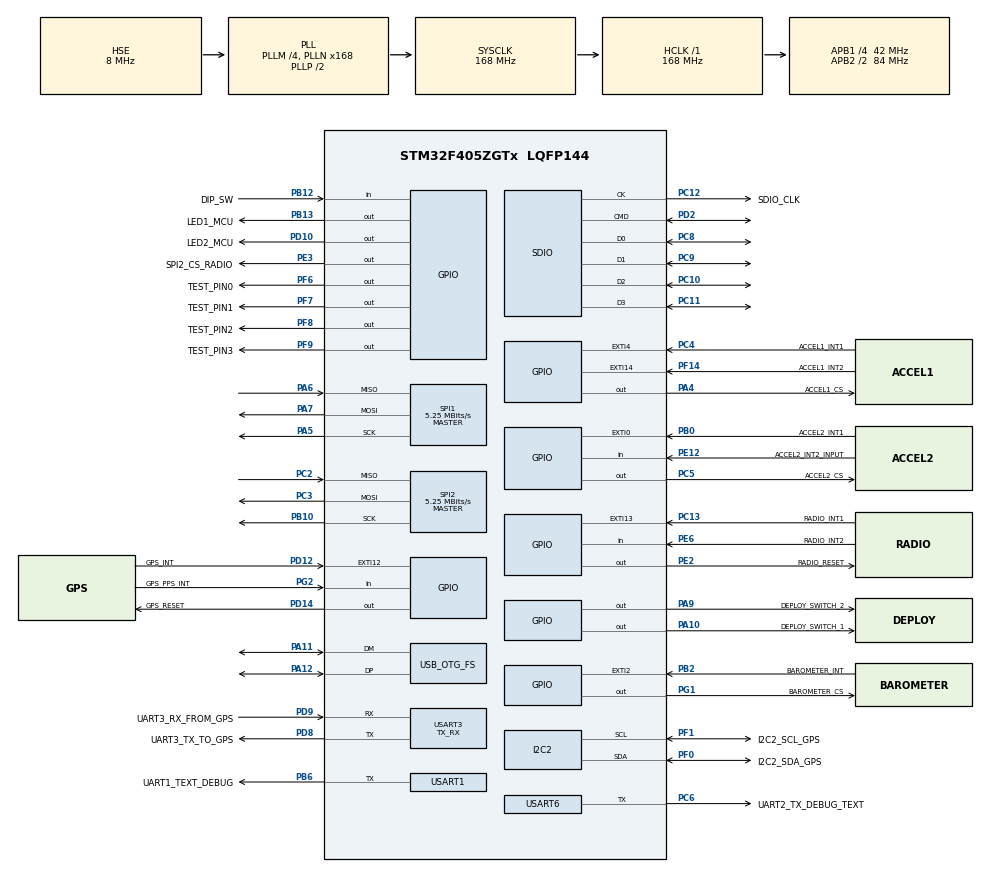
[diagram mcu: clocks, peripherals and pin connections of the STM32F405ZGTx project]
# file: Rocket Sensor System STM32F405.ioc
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Dma.Request0=SDIO_RX
Dma.Request1=SDIO_TX
Dma.SDIO_RX.0.Direction=DMA_PERIPH_TO_MEMORY
Dma.SDIO_RX.0.FIFOMode=DMA_FIFOMODE_ENABLE
Dma.SDIO_RX.0.FIFOThreshold=DMA_FIFO_THRESHOLD_FULL
Dma.SDIO_RX.0.Instance=DMA2_Stream3
Dma.SDIO_RX.0.MemBurst=DMA_MBURST_INC4
Dma.SDIO_RX.0.MemDataAlignment=DMA_MDATAALIGN_WORD
Dma.SDIO_RX.0.MemInc=DMA_MINC_ENABLE
Dma.SDIO_RX.0.Mode=DMA_PFCTRL
Dma.SDIO_RX.0.PeriphBurst=DMA_PBURST_INC4
Dma.SDIO_RX.0.PeriphDataAlignment=DMA_PDATAALIGN_WORD
Dma.SDIO_RX.0.PeriphInc=DMA_PINC_DISABLE
Dma.SDIO_RX.0.Priority=DMA_PRIORITY_LOW
Dma.SDIO_TX.1.Direction=DMA_MEMORY_TO_PERIPH
Dma.SDIO_TX.1.FIFOMode=DMA_FIFOMODE_ENABLE
Dma.SDIO_TX.1.FIFOThreshold=DMA_FIFO_THRESHOLD_FULL
Dma.SDIO_TX.1.Instance=DMA2_Stream6
Dma.SDIO_TX.1.MemBurst=DMA_MBURST_INC4
Dma.SDIO_TX.1.MemDataAlignment=DMA_MDATAALIGN_WORD
Dma.SDIO_TX.1.MemInc=DMA_MINC_ENABLE
Dma.SDIO_TX.1.Mode=DMA_PFCTRL
Dma.SDIO_TX.1.PeriphBurst=DMA_PBURST_INC4
Dma.SDIO_TX.1.PeriphDataAlignment=DMA_PDATAALIGN_WORD
Dma.SDIO_TX.1.PeriphInc=DMA_PINC_DISABLE
Dma.SDIO_TX.1.Priority=DMA_PRIORITY_LOW
FATFS._MAX_LFN=64
FATFS._USE_LFN=2
FREERTOS.Events01=delayTimer6Event,Static,delayTimer6EventControlBlock;taskGateEvent,Static,taskGateEventControlBlock
FREERTOS.HEAP_NUMBER=4
FREERTOS.INCLUDE_pcTaskGetTaskName=1
FREERTOS.INCLUDE_uxTaskGetStackHighWaterMark2=1
FREERTOS.INCLUDE_vTaskCleanUpResources=1
FREERTOS.INCLUDE_vTaskDelete=1
FREERTOS.INCLUDE_xEventGroupSetBitFromISR=1
FREERTOS.INCLUDE_xQueueGetMutexHolder=1
FREERTOS.INCLUDE_xSemaphoreGetMutexHolder=1
FREERTOS.INCLUDE_xTaskAbortDelay=1
FREERTOS.INCLUDE_xTaskGetHandle=1
FREERTOS.INCLUDE_xTaskResumeFromISR=0
FREERTOS.Queues01=DataCollectionQueue,16,uint64_t,0,Static,DataCollectionQueueBuffer,DataCollectionQueueControlBlock;RadioCommsQueue,16,uint64_t,0,Static,RadioCommsQueueBuffer,RadioCommsQueueControlBlock;DataWriterQueue,16,uint64_t,0,Static,DataWriterQueueBuffer,DataWriterQueueControlBlock;RocketAppQueue,16,uint64_t,0,Static,RocketAppQueueBuffer,RocketAppQueueControlBlock;DefaultTaskQueue,16,uint64_t,0,Static,DefaultTaskQueueBuffer,DefaultTaskQueueControlBlock
FREERTOS.Tasks01=StatsPrintTask,16,512,DefaultTask,Default,NULL,Static,StatsPrintTaskBuffer,StatsPrintTaskControlBlock;DataCollection,40,512,DataCollectionTask,Default,NULL,Static,DataCollectionBuffer,DataCollectionControlBlock;RadioComms,28,512,RadioCommsTask,Default,NULL,Static,RadioCommsBuffer,RadioCommsControlBlock;DataWriter,32,1024,DataWriterStart,Default,NULL,Static,DataWriterBuffer,DataWriterControlBlock;RocketApp,24,1024,RocketAppTask,Default,NULL,Static,RocketAppBuffer,RocketAppControlBlock
FREERTOS.configCHECK_FOR_STACK_OVERFLOW=1
FREERTOS.configENABLE_BACKWARD_COMPATIBILITY=0
FREERTOS.configENABLE_FPU=1
FREERTOS.configGENERATE_RUN_TIME_STATS=1
FREERTOS.configMAX_TASK_NAME_LEN=32
FREERTOS.configQUEUE_REGISTRY_SIZE=128
FREERTOS.configRECORD_STACK_HIGH_ADDRESS=1
FREERTOS.configTIMER_TASK_PRIORITY=28
FREERTOS.configUSE_MALLOC_FAILED_HOOK=1
FREERTOS.configUSE_NEWLIB_REENTRANT=1
FREERTOS.configUSE_OS2_EVENTFLAGS_FROM_ISR=1
FREERTOS.configUSE_OS2_MUTEX=1
FREERTOS.configUSE_OS2_THREAD_ENUMERATE=1
FREERTOS.configUSE_OS2_THREAD_FLAGS=1
FREERTOS.configUSE_OS2_THREAD_SUSPEND_RESUME=1
FREERTOS.configUSE_OS2_TIMER=1
FREERTOS.configUSE_STATS_FORMATTING_FUNCTIONS=1
FREERTOS.configUSE_TASK_NOTIFICATIONS=1
I2C2.I2C_Mode=I2C_Standard
Mcu.Family=STM32F4
Mcu.Name=STM32F405ZGTx
Mcu.Package=LQFP144
NVIC.DMA2_Stream3_IRQn=true\:5\:0\:false\:false\:true\:true\:false\:true\:true
NVIC.DMA2_Stream6_IRQn=true\:5\:0\:false\:false\:true\:true\:false\:true\:true
NVIC.EXTI0_IRQn=true\:5\:0\:false\:false\:true\:true\:true\:true\:true
NVIC.EXTI15_10_IRQn=true\:5\:0\:false\:false\:true\:true\:true\:true\:true
NVIC.EXTI2_IRQn=true\:5\:0\:false\:false\:true\:true\:true\:true\:true
NVIC.EXTI4_IRQn=true\:5\:0\:false\:false\:true\:true\:true\:true\:true
NVIC.OTG_FS_IRQn=true\:5\:0\:false\:false\:true\:true\:false\:true\:true
NVIC.PriorityGroup=NVIC_PRIORITYGROUP_4
NVIC.SDIO_IRQn=true\:5\:0\:false\:false\:true\:true\:true\:true\:true
NVIC.TIM1_UP_TIM10_IRQn=true\:15\:0\:false\:false\:true\:false\:false\:true\:true
NVIC.TIM5_IRQn=true\:5\:0\:false\:false\:true\:true\:true\:true\:true
NVIC.TIM8_TRG_COM_TIM14_IRQn=true\:5\:0\:false\:false\:true\:true\:true\:true\:true
NVIC.TIM8_UP_TIM13_IRQn=true\:4\:0\:true\:false\:true\:false\:true\:true\:true
NVIC.TimeBase=TIM1_UP_TIM10_IRQn
NVIC.TimeBaseIP=TIM1
NVIC.USART3_IRQn=true\:3\:0\:true\:false\:true\:false\:true\:true\:true
PA10.GPIO_Label=DEPLOY_SWITCH_1
PA10.Signal=GPIO_Output
PA11.Mode=Device_Only
PA11.Signal=USB_OTG_FS_DM
PA12.Mode=Device_Only
PA12.Signal=USB_OTG_FS_DP
PA13.Mode=JTAG_5_pins
PA13.Signal=SYS_JTMS-SWDIO
PA14.Mode=JTAG_5_pins
PA14.Signal=SYS_JTCK-SWCLK
PA15.Mode=JTAG_5_pins
PA15.Signal=SYS_JTDI
PA4.GPIO_Label=ACCEL1_CS
PA4.GPIO_PuPd=GPIO_PULLUP
PA4.PinState=GPIO_PIN_SET
PA4.Signal=GPIO_Output
PA5.GPIO_PuPd=GPIO_PULLUP
PA5.GPIO_Speed=GPIO_SPEED_FREQ_MEDIUM
PA5.Mode=Full_Duplex_Master
PA5.Signal=SPI1_SCK
PA6.GPIO_PuPd=GPIO_PULLUP
PA6.GPIO_Speed=GPIO_SPEED_FREQ_MEDIUM
PA6.Mode=Full_Duplex_Master
PA6.Signal=SPI1_MISO
PA7.GPIO_PuPd=GPIO_PULLUP
PA7.GPIO_Speed=GPIO_SPEED_FREQ_MEDIUM
PA7.Mode=Full_Duplex_Master
PA7.Signal=SPI1_MOSI
PA9.GPIO_Label=DEPLOY_SWITCH_2
PA9.Signal=GPIO_Output
PB0.GPIO_Label=ACCEL2_INT1
PB0.GPIO_ModeDefaultEXTI=GPIO_MODE_IT_FALLING
PB0.GPIO_PuPd=GPIO_PULLUP
PB0.Signal=GPXTI0
PB10.GPIO_PuPd=GPIO_NOPULL
PB10.GPIO_Speed=GPIO_SPEED_FREQ_MEDIUM
PB10.Mode=Full_Duplex_Master
PB10.Signal=SPI2_SCK
PB12.GPIO_Label=DIP_SW
PB12.GPIO_PuPd=GPIO_NOPULL
PB12.Signal=GPIO_Input
PB13.GPIO_Label=LED1_MCU
PB13.PinState=GPIO_PIN_RESET
PB13.Signal=GPIO_Output
PB2.GPIO_Label=BAROMETER_INT
PB2.GPIO_ModeDefaultEXTI=GPIO_MODE_IT_FALLING
PB2.GPIO_PuPd=GPIO_PULLUP
PB2.Signal=GPXTI2
PB3.Mode=JTAG_5_pins
PB3.Signal=SYS_JTDO-SWO
PB4.Mode=JTAG_5_pins
PB4.Signal=SYS_JTRST
PB6.GPIO_Label=UART1_TEXT_DEBUG
PB6.GPIO_ModeDefaultOD=GPIO_MODE_AF_PP
PB6.GPIO_PuPd=GPIO_PULLUP
PB6.GPIO_Speed=GPIO_SPEED_FREQ_LOW
PB6.Mode=Half_duplex(single_wire_mode)
PB6.Signal=USART1_TX
PC10.Mode=SD_4_bits_Wide_bus
PC10.Signal=SDIO_D2
PC11.Mode=SD_4_bits_Wide_bus
PC11.Signal=SDIO_D3
PC12.GPIO_Label=SDIO_CLK
PC12.Mode=SD_4_bits_Wide_bus
PC12.Signal=SDIO_CK
PC13-ANTI_TAMP.GPIO_Label=RADIO_INT1
PC13-ANTI_TAMP.GPIO_PuPd=GPIO_PULLDOWN
PC13-ANTI_TAMP.Signal=GPXTI13
PC2.GPIO_PuPd=GPIO_NOPULL
PC2.GPIO_Speed=GPIO_SPEED_FREQ_MEDIUM
PC2.Mode=Full_Duplex_Master
PC2.Signal=SPI2_MISO
PC3.GPIO_PuPd=GPIO_NOPULL
PC3.GPIO_Speed=GPIO_SPEED_FREQ_MEDIUM
PC3.Mode=Full_Duplex_Master
PC3.Signal=SPI2_MOSI
PC4.GPIO_Label=ACCEL1_INT1
PC4.GPIO_ModeDefaultEXTI=GPIO_MODE_IT_FALLING
PC4.GPIO_PuPd=GPIO_PULLUP
PC4.Signal=GPXTI4
PC5.GPIO_Label=ACCEL2_CS
PC5.GPIO_PuPd=GPIO_PULLUP
PC5.PinState=GPIO_PIN_SET
PC5.Signal=GPIO_Output
PC6.GPIO_Label=UART2_TX_DEBUG_TEXT
PC6.GPIO_ModeDefaultOD=GPIO_MODE_AF_PP
PC6.GPIO_PuPd=GPIO_PULLUP
PC6.GPIO_Speed=GPIO_SPEED_FREQ_LOW
PC6.Mode=Half_duplex(single_wire_mode)
PC6.Signal=USART6_TX
PC8.Mode=SD_4_bits_Wide_bus
PC8.Signal=SDIO_D0
PC9.Mode=SD_4_bits_Wide_bus
PC9.Signal=SDIO_D1
PD10.GPIO_Label=LED2_MCU
PD10.PinState=GPIO_PIN_RESET
PD10.Signal=GPIO_Output
PD12.GPIO_Label=GPS_INT
PD12.GPIO_ModeDefaultEXTI=GPIO_MODE_IT_FALLING
PD12.GPIO_PuPd=GPIO_PULLUP
PD12.Signal=GPXTI12
PD14.GPIO_Label=GPS_RESET
PD14.Signal=GPIO_Output
PD2.Mode=SD_4_bits_Wide_bus
PD2.Signal=SDIO_CMD
PD8.GPIO_Label=UART3_TX_TO_GPS
PD8.GPIO_Speed=GPIO_SPEED_FREQ_LOW
PD8.Mode=Asynchronous
PD8.Signal=USART3_TX
PD9.GPIO_Label=UART3_RX_FROM_GPS
PD9.GPIO_PuPd=GPIO_PULLUP
PD9.GPIO_Speed=GPIO_SPEED_FREQ_LOW
PD9.Mode=Asynchronous
PD9.Signal=USART3_RX
PE12.GPIO_Label=ACCEL2_INT2_INPUT
PE12.GPIO_PuPd=GPIO_PULLUP
PE12.Signal=GPIO_Input
PE2.GPIO_Label=RADIO_RESET
PE2.GPIO_PuPd=GPIO_NOPULL
PE2.Signal=GPIO_Output
PE3.GPIO_Label=SPI2_CS_RADIO
PE3.GPIO_PuPd=GPIO_PULLUP
PE3.PinState=GPIO_PIN_SET
PE3.Signal=GPIO_Output
PE6.GPIO_Label=RADIO_INT2
PE6.Signal=GPIO_Input
PF0.GPIO_Label=I2C2_SDA_GPS
PF0.GPIO_Speed=GPIO_SPEED_FREQ_LOW
PF0.Mode=I2C
PF0.Signal=I2C2_SDA
PF1.GPIO_Label=I2C2_SCL_GPS
PF1.GPIO_Speed=GPIO_SPEED_FREQ_LOW
PF1.Mode=I2C
PF1.Signal=I2C2_SCL
PF14.GPIO_Label=ACCEL1_INT2
PF14.GPIO_ModeDefaultEXTI=GPIO_MODE_IT_FALLING
PF14.GPIO_PuPd=GPIO_PULLUP
PF14.Signal=GPXTI14
PF6.GPIO_Label=TEST_PIN0
PF6.GPIO_Speed=GPIO_SPEED_FREQ_VERY_HIGH
PF6.PinState=GPIO_PIN_SET
PF6.Signal=GPIO_Output
PF7.GPIO_Label=TEST_PIN1
PF7.GPIO_Speed=GPIO_SPEED_FREQ_VERY_HIGH
PF7.PinState=GPIO_PIN_SET
PF7.Signal=GPIO_Output
PF8.GPIO_Label=TEST_PIN2
PF8.GPIO_Speed=GPIO_SPEED_FREQ_VERY_HIGH
PF8.PinState=GPIO_PIN_SET
PF8.Signal=GPIO_Output
PF9.GPIO_Label=TEST_PIN3
PF9.GPIO_Speed=GPIO_SPEED_FREQ_VERY_HIGH
PF9.PinState=GPIO_PIN_SET
PF9.Signal=GPIO_Output
PG1.GPIO_Label=BAROMETER_CS
PG1.GPIO_PuPd=GPIO_PULLUP
PG1.PinState=GPIO_PIN_SET
PG1.Signal=GPIO_Output
PG2.GPIO_Label=GPS_PPS_INT
PG2.GPIO_PuPd=GPIO_PULLUP
PG2.Signal=GPIO_Input
PH0-OSC_IN.Mode=HSE-External-Oscillator
PH0-OSC_IN.Signal=RCC_OSC_IN
PH1-OSC_OUT.Mode=HSE-External-Oscillator
PH1-OSC_OUT.Signal=RCC_OSC_OUT
ProjectManager.HeapSize=0x200
ProjectManager.StackSize=0x400
ProjectManager.TargetToolchain=STM32CubeIDE
RCC.48MHZClocksFreq_Value=48000000
RCC.AHBFreq_Value=168000000
RCC.APB1CLKDivider=RCC_HCLK_DIV4
RCC.APB1Freq_Value=42000000
RCC.APB1TimFreq_Value=84000000
RCC.APB2CLKDivider=RCC_HCLK_DIV2
RCC.APB2Freq_Value=84000000
RCC.APB2TimFreq_Value=168000000
RCC.CortexFreq_Value=168000000
RCC.HCLKFreq_Value=168000000
RCC.HSE_VALUE=8000000
RCC.HSI_VALUE=16000000
RCC.LSE_VALUE=32768
RCC.PLLM=4
RCC.PLLN=168
RCC.PLLQ=7
RCC.SYSCLKFreq_VALUE=168000000
RCC.SYSCLKSource=RCC_SYSCLKSOURCE_PLLCLK
RCC.VCOOutputFreq_Value=336000000
SDIO.ClockDiv=0
SPI1.BaudRatePrescaler=SPI_BAUDRATEPRESCALER_16
SPI1.CalculateBaudRate=5.25 MBits/s
SPI1.Direction=SPI_DIRECTION_2LINES
SPI1.Mode=SPI_MODE_MASTER
SPI1.VirtualType=VM_MASTER
SPI2.BaudRatePrescaler=SPI_BAUDRATEPRESCALER_8
SPI2.CalculateBaudRate=5.25 MBits/s
SPI2.Direction=SPI_DIRECTION_2LINES
SPI2.Mode=SPI_MODE_MASTER
SPI2.VirtualType=VM_MASTER
TIM13.ClockDivision=TIM_CLOCKDIVISION_DIV1
TIM13.Period=0xFFFF
TIM13.Prescaler=84
TIM14.ClockDivision=TIM_CLOCKDIVISION_DIV1
TIM14.Period=5000
TIM14.Prescaler=16800
TIM2.ClockDivision=TIM_CLOCKDIVISION_DIV4
TIM2.Prescaler=16000
TIM5.Period=1000000
TIM5.Prescaler=1680
TIM6.Prescaler=84
USART1.BaudRate=2000000
USART1.Mode=MODE_TX
USART1.VirtualMode=VM_ASYNC
USART3.Mode=MODE_TX_RX
USART3.VirtualMode=VM_ASYNC
USART6.BaudRate=2000000
USART6.Mode=MODE_TX
USART6.VirtualMode=VM_ASYNC
USB_DEVICE.CLASS_NAME_FS=CDC
USB_DEVICE.PID_CDC_FS=0xFF00
USB_DEVICE.VirtualMode-CDC_FS=Cdc
USB_DEVICE.VirtualModeFS=Cdc_FS
USB_OTG_FS.VirtualMode=Device_Only
VP_CRC_VS_CRC.Mode=CRC_Activate
VP_FATFS_VS_SDIO.Mode=SDIO
VP_FREERTOS_VS_CMSIS_V2.Mode=CMSIS_V2
VP_RTC_VS_RTC_Activate.Mode=RTC_Enabled
VP_SYS_VS_tim1.Mode=TIM1
VP_TIM13_VS_ClockSourceINT.Mode=Enable_Timer
VP_TIM14_VS_ClockSourceINT.Mode=Enable_Timer
VP_TIM2_VS_ClockSourceINT.Mode=Internal
VP_TIM5_VS_ClockSourceINT.Mode=Internal
VP_TIM6_VS_ClockSourceINT.Mode=Enable_Timer
VP_USB_DEVICE_VS_USB_DEVICE_CDC_FS.Mode=CDC_FS
board=custom

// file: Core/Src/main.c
/* USER CODE BEGIN Header */
/**
 ******************************************************************************
 * @file           : main.c
 * @brief          : Main program body
 ******************************************************************************
 * @attention
 *
 * Copyright (c) 2022 STMicroelectronics.
 * All rights reserved.
 *
 * This software is licensed under terms that can be found in the LICENSE file
 * in the root directory of this software component.
 * If no LICENSE file comes with this software, it is provided AS-IS.
 *
 ******************************************************************************
 */
/* USER CODE END Header */
#include "main.h"
#include "cmsis_os.h"
#include "fatfs.h"
#include "usb_device.h"

/* USER CODE BEGIN Includes */
#include "Global.h"
/* USER CODE END Includes */

typedef StaticTask_t osStaticThreadDef_t;
typedef StaticQueue_t osStaticMessageQDef_t;
typedef StaticEventGroup_t osStaticEventGroupDef_t;

 CRC_HandleTypeDef hcrc;

I2C_HandleTypeDef hi2c2;

RTC_HandleTypeDef hrtc;

SD_HandleTypeDef hsd;
DMA_HandleTypeDef hdma_sdio_rx;
DMA_HandleTypeDef hdma_sdio_tx;

SPI_HandleTypeDef hspi1;
SPI_HandleTypeDef hspi2;

TIM_HandleTypeDef htim2;
TIM_HandleTypeDef htim5;
TIM_HandleTypeDef htim6;
TIM_HandleTypeDef htim13;
TIM_HandleTypeDef htim14;

UART_HandleTypeDef huart1;
UART_HandleTypeDef huart3;
UART_HandleTypeDef huart6;

/* Definitions for StatsPrintTask */
osThreadId_t StatsPrintTaskHandle;
uint32_t StatsPrintTaskBuffer[ 512 ];
osStaticThreadDef_t StatsPrintTaskControlBlock;
const osThreadAttr_t StatsPrintTask_attributes = {
  .name = "StatsPrintTask",
  .cb_mem = &StatsPrintTaskControlBlock,
  .cb_size = sizeof(StatsPrintTaskControlBlock),
  .stack_mem = &StatsPrintTaskBuffer[0],
  .stack_size = sizeof(StatsPrintTaskBuffer),
  .priority = (osPriority_t) osPriorityBelowNormal,
};
/* Definitions for DataCollection */
osThreadId_t DataCollectionHandle;
uint32_t DataCollectionBuffer[ 512 ];
osStaticThreadDef_t DataCollectionControlBlock;
const osThreadAttr_t DataCollection_attributes = {
  .name = "DataCollection",
  .cb_mem = &DataCollectionControlBlock,
  .cb_size = sizeof(DataCollectionControlBlock),
  .stack_mem = &DataCollectionBuffer[0],
  .stack_size = sizeof(DataCollectionBuffer),
  .priority = (osPriority_t) osPriorityHigh,
};
/* Definitions for RadioComms */
osThreadId_t RadioCommsHandle;
uint32_t RadioCommsBuffer[ 512 ];
osStaticThreadDef_t RadioCommsControlBlock;
const osThreadAttr_t RadioComms_attributes = {
  .name = "RadioComms",
  .cb_mem = &RadioCommsControlBlock,
  .cb_size = sizeof(RadioCommsControlBlock),
  .stack_mem = &RadioCommsBuffer[0],
  .stack_size = sizeof(RadioCommsBuffer),
  .priority = (osPriority_t) osPriorityNormal4,
};
/* Definitions for DataWriter */
osThreadId_t DataWriterHandle;
uint32_t DataWriterBuffer[ 1024 ];
osStaticThreadDef_t DataWriterControlBlock;
const osThreadAttr_t DataWriter_attributes = {
  .name = "DataWriter",
  .cb_mem = &DataWriterControlBlock,
  .cb_size = sizeof(DataWriterControlBlock),
  .stack_mem = &DataWriterBuffer[0],
  .stack_size = sizeof(DataWriterBuffer),
  .priority = (osPriority_t) osPriorityAboveNormal,
};
/* Definitions for RocketApp */
osThreadId_t RocketAppHandle;
uint32_t RocketAppBuffer[ 1024 ];
osStaticThreadDef_t RocketAppControlBlock;
const osThreadAttr_t RocketApp_attributes = {
  .name = "RocketApp",
  .cb_mem = &RocketAppControlBlock,
  .cb_size = sizeof(RocketAppControlBlock),
  .stack_mem = &RocketAppBuffer[0],
  .stack_size = sizeof(RocketAppBuffer),
  .priority = (osPriority_t) osPriorityNormal,
};
/* Definitions for DataCollectionQueue */
osMessageQueueId_t DataCollectionQueueHandle;
uint8_t DataCollectionQueueBuffer[ 16 * sizeof( uint64_t ) ];
osStaticMessageQDef_t DataCollectionQueueControlBlock;
const osMessageQueueAttr_t DataCollectionQueue_attributes = {
  .name = "DataCollectionQueue",
  .cb_mem = &DataCollectionQueueControlBlock,
  .cb_size = sizeof(DataCollectionQueueControlBlock),
  .mq_mem = &DataCollectionQueueBuffer,
  .mq_size = sizeof(DataCollectionQueueBuffer)
};
/* Definitions for RadioCommsQueue */
osMessageQueueId_t RadioCommsQueueHandle;
uint8_t RadioCommsQueueBuffer[ 16 * sizeof( uint64_t ) ];
osStaticMessageQDef_t RadioCommsQueueControlBlock;
const osMessageQueueAttr_t RadioCommsQueue_attributes = {
  .name = "RadioCommsQueue",
  .cb_mem = &RadioCommsQueueControlBlock,
  .cb_size = sizeof(RadioCommsQueueControlBlock),
  .mq_mem = &RadioCommsQueueBuffer,
  .mq_size = sizeof(RadioCommsQueueBuffer)
};
/* Definitions for DataWriterQueue */
osMessageQueueId_t DataWriterQueueHandle;
uint8_t DataWriterQueueBuffer[ 16 * sizeof( uint64_t ) ];
osStaticMessageQDef_t DataWriterQueueControlBlock;
const osMessageQueueAttr_t DataWriterQueue_attributes = {
  .name = "DataWriterQueue",
  .cb_mem = &DataWriterQueueControlBlock,
  .cb_size = sizeof(DataWriterQueueControlBlock),
  .mq_mem = &DataWriterQueueBuffer,
  .mq_size = sizeof(DataWriterQueueBuffer)
};
/* Definitions for RocketAppQueue */
osMessageQueueId_t RocketAppQueueHandle;
uint8_t RocketAppQueueBuffer[ 16 * sizeof( uint64_t ) ];
osStaticMessageQDef_t RocketAppQueueControlBlock;
const osMessageQueueAttr_t RocketAppQueue_attributes = {
  .name = "RocketAppQueue",
  .cb_mem = &RocketAppQueueControlBlock,
  .cb_size = sizeof(RocketAppQueueControlBlock),
  .mq_mem = &RocketAppQueueBuffer,
  .mq_size = sizeof(RocketAppQueueBuffer)
};
/* Definitions for DefaultTaskQueue */
osMessageQueueId_t DefaultTaskQueueHandle;
uint8_t DefaultTaskQueueBuffer[ 16 * sizeof( uint64_t ) ];
osStaticMessageQDef_t DefaultTaskQueueControlBlock;
const osMessageQueueAttr_t DefaultTaskQueue_attributes = {
  .name = "DefaultTaskQueue",
  .cb_mem = &DefaultTaskQueueControlBlock,
  .cb_size = sizeof(DefaultTaskQueueControlBlock),
  .mq_mem = &DefaultTaskQueueBuffer,
  .mq_size = sizeof(DefaultTaskQueueBuffer)
};
/* Definitions for delayTimer6Event */
osEventFlagsId_t delayTimer6EventHandle;
osStaticEventGroupDef_t delayTimer6EventControlBlock;
const osEventFlagsAttr_t delayTimer6Event_attributes = {
  .name = "delayTimer6Event",
  .cb_mem = &delayTimer6EventControlBlock,
  .cb_size = sizeof(delayTimer6EventControlBlock),
};
/* Definitions for taskGateEvent */
osEventFlagsId_t taskGateEventHandle;
osStaticEventGroupDef_t taskGateEventControlBlock;
const osEventFlagsAttr_t taskGateEvent_attributes = {
  .name = "taskGateEvent",
  .cb_mem = &taskGateEventControlBlock,
  .cb_size = sizeof(taskGateEventControlBlock),
};

void SystemClock_Config(void);
static void MX_GPIO_Init(void);
static void MX_SDIO_SD_Init(void);
static void MX_SPI1_Init(void);
static void MX_SPI2_Init(void);
static void MX_DMA_Init(void);
static void MX_I2C2_Init(void);
static void MX_RTC_Init(void);
static void MX_USART6_UART_Init(void);
static void MX_CRC_Init(void);
static void MX_TIM2_Init(void);
static void MX_TIM5_Init(void);
static void MX_TIM14_Init(void);
static void MX_USART1_UART_Init(void);
static void MX_TIM6_Init(void);
static void MX_USART3_UART_Init(void);
static void MX_TIM13_Init(void);
void DefaultTask(void *argument);
void DataCollectionTask(void *argument);
void RadioCommsTask(void *argument);
void DataWriterStart(void *argument);
void RocketAppTask(void *argument);

/* USER CODE BEGIN PFP */
void StartDataCollectionTask();
void StartDefaultTask();
void StartRadioCommsTask();
void StartGpsCollectorTask();
void StartDataWriterTask();
void StartRocketAppTask();
/* USER CODE END PFP */

/* USER CODE BEGIN 0 */
// FATFS needs this function.
// We don't have a pin to detect the card so just force it to be there when running.
uint8_t BSP_SD_IsDetected(void)
{
  return SD_PRESENT;
}

void StartCpuMicroSecondTimer()
{
  htim13.Instance->CNT = 0;
  HAL_TIM_Base_Start_IT(&htim13);
}

void StopCpuMicroSecondTimer()
{
  HAL_TIM_Base_Stop_IT(&htim13);
}

// Currently set to 1 second
void StartStatusUpdatesTimer()
{
  HAL_TIM_Base_Start_IT(&htim14);
}

void StopStatusUpdatesTimer()
{
  HAL_TIM_Base_Stop_IT(&htim14);
}
/* USER CODE END 0 */

int main(void)
{

  /* MCU Configuration--------------------------------------------------------*/

  /* Reset of all peripherals, Initializes the Flash interface and the Systick. */
  HAL_Init();

  /* Configure the system clock */
  SystemClock_Config();

  /* Initialize all configured peripherals */
  MX_GPIO_Init();
  MX_SDIO_SD_Init();
  MX_SPI1_Init();
  MX_SPI2_Init();
  MX_DMA_Init();
  MX_FATFS_Init();
  MX_I2C2_Init();
  MX_RTC_Init();
  MX_USART6_UART_Init();
  MX_CRC_Init();
  MX_TIM2_Init();
  MX_TIM5_Init();
  MX_TIM14_Init();
  MX_USART1_UART_Init();
  MX_TIM6_Init();
  MX_USART3_UART_Init();
  MX_TIM13_Init();
  /* USER CODE BEGIN 2 */
  HAL_NVIC_DisableIRQ(EXTI0_IRQn);
  HAL_NVIC_DisableIRQ(EXTI2_IRQn);
  // Accel Int 1 Low Acc
  HAL_NVIC_DisableIRQ(EXTI4_IRQn);
  // Accel Int 2 Low Acc
  HAL_NVIC_DisableIRQ(EXTI15_10_IRQn);
  /* USER CODE END 2 */

  /* Init scheduler */
  osKernelInitialize();

  /* USER CODE BEGIN RTOS_TIMERS */
  /* start timers, add new ones, ... */
  initialize_debug_printf();
  PRINTLN("My PCB Rocket System version 1.0");
  /* USER CODE END RTOS_TIMERS */

  /* Create the queue(s) */
  /* creation of DataCollectionQueue */
  DataCollectionQueueHandle = osMessageQueueNew (16, sizeof(uint64_t), &DataCollectionQueue_attributes);

  /* creation of RadioCommsQueue */
  RadioCommsQueueHandle = osMessageQueueNew (16, sizeof(uint64_t), &RadioCommsQueue_attributes);

  /* creation of DataWriterQueue */
  DataWriterQueueHandle = osMessageQueueNew (16, sizeof(uint64_t), &DataWriterQueue_attributes);

  /* creation of RocketAppQueue */
  RocketAppQueueHandle = osMessageQueueNew (16, sizeof(uint64_t), &RocketAppQueue_attributes);

  /* creation of DefaultTaskQueue */
  DefaultTaskQueueHandle = osMessageQueueNew (16, sizeof(uint64_t), &DefaultTaskQueue_attributes);

  /* Create the thread(s) */
  /* creation of StatsPrintTask */
  StatsPrintTaskHandle = osThreadNew(DefaultTask, NULL, &StatsPrintTask_attributes);

  /* creation of DataCollection */
  DataCollectionHandle = osThreadNew(DataCollectionTask, NULL, &DataCollection_attributes);

  /* creation of RadioComms */
  RadioCommsHandle = osThreadNew(RadioCommsTask, NULL, &RadioComms_attributes);

  /* creation of DataWriter */
  DataWriterHandle = osThreadNew(DataWriterStart, NULL, &DataWriter_attributes);

  /* creation of RocketApp */
  RocketAppHandle = osThreadNew(RocketAppTask, NULL, &RocketApp_attributes);

  /* Create the event(s) */
  /* creation of delayTimer6Event */
  delayTimer6EventHandle = osEventFlagsNew(&delayTimer6Event_attributes);

  /* creation of taskGateEvent */
  taskGateEventHandle = osEventFlagsNew(&taskGateEvent_attributes);

  /* USER CODE BEGIN RTOS_EVENTS */
  /* add events, ... */
  StartCpuMicroSecondTimer();
  /* USER CODE END RTOS_EVENTS */

  /* Start scheduler */
  osKernelStart();

  /* We should never get here as control is now taken by the scheduler */
  /* Infinite loop */
  while (1)
  {

  }
}

void SystemClock_Config(void)
{
  RCC_OscInitTypeDef RCC_OscInitStruct = {0};
  RCC_ClkInitTypeDef RCC_ClkInitStruct = {0};

  /** Configure the main internal regulator output voltage
  */
  __HAL_RCC_PWR_CLK_ENABLE();
  __HAL_PWR_VOLTAGESCALING_CONFIG(PWR_REGULATOR_VOLTAGE_SCALE1);

  /** Initializes the RCC Oscillators according to the specified parameters
  * in the RCC_OscInitTypeDef structure.
  */
  RCC_OscInitStruct.OscillatorType = RCC_OSCILLATORTYPE_LSI|RCC_OSCILLATORTYPE_HSE;
  RCC_OscInitStruct.HSEState = RCC_HSE_ON;
  RCC_OscInitStruct.LSIState = RCC_LSI_ON;
  RCC_OscInitStruct.PLL.PLLState = RCC_PLL_ON;
  RCC_OscInitStruct.PLL.PLLSource = RCC_PLLSOURCE_HSE;
  RCC_OscInitStruct.PLL.PLLM = 4;
  RCC_OscInitStruct.PLL.PLLN = 168;
  RCC_OscInitStruct.PLL.PLLP = RCC_PLLP_DIV2;
  RCC_OscInitStruct.PLL.PLLQ = 7;
  if (HAL_RCC_OscConfig(&RCC_OscInitStruct) != HAL_OK)
  {
    Error_Handler();
  }

  /** Initializes the CPU, AHB and APB buses clocks
  */
  RCC_ClkInitStruct.ClockType = RCC_CLOCKTYPE_HCLK|RCC_CLOCKTYPE_SYSCLK
                              |RCC_CLOCKTYPE_PCLK1|RCC_CLOCKTYPE_PCLK2;
  RCC_ClkInitStruct.SYSCLKSource = RCC_SYSCLKSOURCE_PLLCLK;
  RCC_ClkInitStruct.AHBCLKDivider = RCC_SYSCLK_DIV1;
  RCC_ClkInitStruct.APB1CLKDivider = RCC_HCLK_DIV4;
  RCC_ClkInitStruct.APB2CLKDivider = RCC_HCLK_DIV2;

  if (HAL_RCC_ClockConfig(&RCC_ClkInitStruct, FLASH_LATENCY_5) != HAL_OK)
  {
    Error_Handler();
  }
}

static void MX_CRC_Init(void)
{

  hcrc.Instance = CRC;
  if (HAL_CRC_Init(&hcrc) != HAL_OK)
  {
    Error_Handler();
  }

}

static void MX_I2C2_Init(void)
{

  hi2c2.Instance = I2C2;
  hi2c2.Init.ClockSpeed = 100000;
  hi2c2.Init.DutyCycle = I2C_DUTYCYCLE_2;
  hi2c2.Init.OwnAddress1 = 0;
  hi2c2.Init.AddressingMode = I2C_ADDRESSINGMODE_7BIT;
  hi2c2.Init.DualAddressMode = I2C_DUALADDRESS_DISABLE;
  hi2c2.Init.OwnAddress2 = 0;
  hi2c2.Init.GeneralCallMode = I2C_GENERALCALL_DISABLE;
  hi2c2.Init.NoStretchMode = I2C_NOSTRETCH_DISABLE;
  if (HAL_I2C_Init(&hi2c2) != HAL_OK)
  {
    Error_Handler();
  }

}

static void MX_RTC_Init(void)
{

  /** Initialize RTC Only
  */
  hrtc.Instance = RTC;
  hrtc.Init.HourFormat = RTC_HOURFORMAT_24;
  hrtc.Init.AsynchPrediv = 127;
  hrtc.Init.SynchPrediv = 255;
  hrtc.Init.OutPut = RTC_OUTPUT_DISABLE;
  hrtc.Init.OutPutPolarity = RTC_OUTPUT_POLARITY_HIGH;
  hrtc.Init.OutPutType = RTC_OUTPUT_TYPE_OPENDRAIN;
  if (HAL_RTC_Init(&hrtc) != HAL_OK)
  {
    Error_Handler();
  }

}

static void MX_SDIO_SD_Init(void)
{

  hsd.Instance = SDIO;
  hsd.Init.ClockEdge = SDIO_CLOCK_EDGE_RISING;
  hsd.Init.ClockBypass = SDIO_CLOCK_BYPASS_DISABLE;
  hsd.Init.ClockPowerSave = SDIO_CLOCK_POWER_SAVE_DISABLE;
  hsd.Init.BusWide = SDIO_BUS_WIDE_1B;
  hsd.Init.HardwareFlowControl = SDIO_HARDWARE_FLOW_CONTROL_DISABLE;
  hsd.Init.ClockDiv = 0;

}

static void MX_SPI1_Init(void)
{

  /* SPI1 parameter configuration*/
  hspi1.Instance = SPI1;
  hspi1.Init.Mode = SPI_MODE_MASTER;
  hspi1.Init.Direction = SPI_DIRECTION_2LINES;
  hspi1.Init.DataSize = SPI_DATASIZE_8BIT;
  hspi1.Init.CLKPolarity = SPI_POLARITY_LOW;
  hspi1.Init.CLKPhase = SPI_PHASE_1EDGE;
  hspi1.Init.NSS = SPI_NSS_SOFT;
  hspi1.Init.BaudRatePrescaler = SPI_BAUDRATEPRESCALER_16;
  hspi1.Init.FirstBit = SPI_FIRSTBIT_MSB;
  hspi1.Init.TIMode = SPI_TIMODE_DISABLE;
  hspi1.Init.CRCCalculation = SPI_CRCCALCULATION_DISABLE;
  hspi1.Init.CRCPolynomial = 10;
  if (HAL_SPI_Init(&hspi1) != HAL_OK)
  {
    Error_Handler();
  }

}

static void MX_SPI2_Init(void)
{

  /* SPI2 parameter configuration*/
  hspi2.Instance = SPI2;
  hspi2.Init.Mode = SPI_MODE_MASTER;
  hspi2.Init.Direction = SPI_DIRECTION_2LINES;
  hspi2.Init.DataSize = SPI_DATASIZE_8BIT;
  hspi2.Init.CLKPolarity = SPI_POLARITY_LOW;
  hspi2.Init.CLKPhase = SPI_PHASE_1EDGE;
  hspi2.Init.NSS = SPI_NSS_SOFT;
  hspi2.Init.BaudRatePrescaler = SPI_BAUDRATEPRESCALER_8;
  hspi2.Init.FirstBit = SPI_FIRSTBIT_MSB;
  hspi2.Init.TIMode = SPI_TIMODE_DISABLE;
  hspi2.Init.CRCCalculation = SPI_CRCCALCULATION_DISABLE;
  hspi2.Init.CRCPolynomial = 10;
  if (HAL_SPI_Init(&hspi2) != HAL_OK)
  {
    Error_Handler();
  }

}

static void MX_TIM2_Init(void)
{

  TIM_ClockConfigTypeDef sClockSourceConfig = {0};
  TIM_MasterConfigTypeDef sMasterConfig = {0};

  htim2.Instance = TIM2;
  htim2.Init.Prescaler = 16000;
  htim2.Init.CounterMode = TIM_COUNTERMODE_UP;
  htim2.Init.Period = 4294967295;
  htim2.Init.ClockDivision = TIM_CLOCKDIVISION_DIV4;
  htim2.Init.AutoReloadPreload = TIM_AUTORELOAD_PRELOAD_DISABLE;
  if (HAL_TIM_Base_Init(&htim2) != HAL_OK)
  {
    Error_Handler();
  }
  sClockSourceConfig.ClockSource = TIM_CLOCKSOURCE_INTERNAL;
  if (HAL_TIM_ConfigClockSource(&htim2, &sClockSourceConfig) != HAL_OK)
  {
    Error_Handler();
  }
  sMasterConfig.MasterOutputTrigger = TIM_TRGO_RESET;
  sMasterConfig.MasterSlaveMode = TIM_MASTERSLAVEMODE_DISABLE;
  if (HAL_TIMEx_MasterConfigSynchronization(&htim2, &sMasterConfig) != HAL_OK)
  {
    Error_Handler();
  }

}

static void MX_TIM5_Init(void)
{

  TIM_ClockConfigTypeDef sClockSourceConfig = {0};
  TIM_MasterConfigTypeDef sMasterConfig = {0};

  htim5.Instance = TIM5;
  htim5.Init.Prescaler = 1680;
  htim5.Init.CounterMode = TIM_COUNTERMODE_UP;
  htim5.Init.Period = 1000000;
  htim5.Init.ClockDivision = TIM_CLOCKDIVISION_DIV1;
  htim5.Init.AutoReloadPreload = TIM_AUTORELOAD_PRELOAD_DISABLE;
  if (HAL_TIM_Base_Init(&htim5) != HAL_OK)
  {
    Error_Handler();
  }
  sClockSourceConfig.ClockSource = TIM_CLOCKSOURCE_INTERNAL;
  if (HAL_TIM_ConfigClockSource(&htim5, &sClockSourceConfig) != HAL_OK)
  {
    Error_Handler();
  }
  sMasterConfig.MasterOutputTrigger = TIM_TRGO_RESET;
  sMasterConfig.MasterSlaveMode = TIM_MASTERSLAVEMODE_DISABLE;
  if (HAL_TIMEx_MasterConfigSynchronization(&htim5, &sMasterConfig) != HAL_OK)
  {
    Error_Handler();
  }

}

static void MX_TIM6_Init(void)
{

  TIM_MasterConfigTypeDef sMasterConfig = {0};

  htim6.Instance = TIM6;
  htim6.Init.Prescaler = 84;
  htim6.Init.CounterMode = TIM_COUNTERMODE_UP;
  htim6.Init.Period = 65535;
  htim6.Init.AutoReloadPreload = TIM_AUTORELOAD_PRELOAD_DISABLE;
  if (HAL_TIM_Base_Init(&htim6) != HAL_OK)
  {
    Error_Handler();
  }
  sMasterConfig.MasterOutputTrigger = TIM_TRGO_RESET;
  sMasterConfig.MasterSlaveMode = TIM_MASTERSLAVEMODE_DISABLE;
  if (HAL_TIMEx_MasterConfigSynchronization(&htim6, &sMasterConfig) != HAL_OK)
  {
    Error_Handler();
  }

}

static void MX_TIM13_Init(void)
{

  /* USER CODE BEGIN TIM13_Init 1 */
  // On APB1 with 84MHz clock src
  // Set to 1us per counter increment
  // Interrupts every 65,535us so 65.535ms
  // Just increment another 32 bit counter every interrupt
  /* USER CODE END TIM13_Init 1 */
  htim13.Instance = TIM13;
  htim13.Init.Prescaler = 84;
  htim13.Init.CounterMode = TIM_COUNTERMODE_UP;
  htim13.Init.Period = 0xFFFF;
  htim13.Init.ClockDivision = TIM_CLOCKDIVISION_DIV1;
  htim13.Init.AutoReloadPreload = TIM_AUTORELOAD_PRELOAD_DISABLE;
  if (HAL_TIM_Base_Init(&htim13) != HAL_OK)
  {
    Error_Handler();
  }

}

static void MX_TIM14_Init(void)
{

  htim14.Instance = TIM14;
  htim14.Init.Prescaler = 16800;
  htim14.Init.CounterMode = TIM_COUNTERMODE_UP;
  htim14.Init.Period = 5000;
  htim14.Init.ClockDivision = TIM_CLOCKDIVISION_DIV1;
  htim14.Init.AutoReloadPreload = TIM_AUTORELOAD_PRELOAD_DISABLE;
  if (HAL_TIM_Base_Init(&htim14) != HAL_OK)
  {
    Error_Handler();
  }

}

static void MX_USART1_UART_Init(void)
{

  huart1.Instance = USART1;
  huart1.Init.BaudRate = 2000000;
  huart1.Init.WordLength = UART_WORDLENGTH_8B;
  huart1.Init.StopBits = UART_STOPBITS_1;
  huart1.Init.Parity = UART_PARITY_NONE;
  huart1.Init.Mode = UART_MODE_TX;
  huart1.Init.HwFlowCtl = UART_HWCONTROL_NONE;
  huart1.Init.OverSampling = UART_OVERSAMPLING_16;
  if (HAL_HalfDuplex_Init(&huart1) != HAL_OK)
  {
    Error_Handler();
  }

}

static void MX_USART3_UART_Init(void)
{

  huart3.Instance = USART3;
  huart3.Init.BaudRate = 115200;
  huart3.Init.WordLength = UART_WORDLENGTH_8B;
  huart3.Init.StopBits = UART_STOPBITS_1;
  huart3.Init.Parity = UART_PARITY_NONE;
  huart3.Init.Mode = UART_MODE_TX_RX;
  huart3.Init.HwFlowCtl = UART_HWCONTROL_NONE;
  huart3.Init.OverSampling = UART_OVERSAMPLING_16;
  if (HAL_UART_Init(&huart3) != HAL_OK)
  {
    Error_Handler();
  }

}

static void MX_USART6_UART_Init(void)
{

  huart6.Instance = USART6;
  huart6.Init.BaudRate = 2000000;
  huart6.Init.WordLength = UART_WORDLENGTH_8B;
  huart6.Init.StopBits = UART_STOPBITS_1;
  huart6.Init.Parity = UART_PARITY_NONE;
  huart6.Init.Mode = UART_MODE_TX;
  huart6.Init.HwFlowCtl = UART_HWCONTROL_NONE;
  huart6.Init.OverSampling = UART_OVERSAMPLING_16;
  if (HAL_HalfDuplex_Init(&huart6) != HAL_OK)
  {
    Error_Handler();
  }

}

static void MX_DMA_Init(void)
{

  /* DMA controller clock enable */
  __HAL_RCC_DMA2_CLK_ENABLE();

  /* DMA interrupt init */
  /* DMA2_Stream3_IRQn interrupt configuration */
  HAL_NVIC_SetPriority(DMA2_Stream3_IRQn, 5, 0);
  HAL_NVIC_EnableIRQ(DMA2_Stream3_IRQn);
  /* DMA2_Stream6_IRQn interrupt configuration */
  HAL_NVIC_SetPriority(DMA2_Stream6_IRQn, 5, 0);
  HAL_NVIC_EnableIRQ(DMA2_Stream6_IRQn);

}

static void MX_GPIO_Init(void)
{
  GPIO_InitTypeDef GPIO_InitStruct = {0};

  /* GPIO Ports Clock Enable */
  __HAL_RCC_GPIOE_CLK_ENABLE();
  __HAL_RCC_GPIOC_CLK_ENABLE();
  __HAL_RCC_GPIOF_CLK_ENABLE();
  __HAL_RCC_GPIOH_CLK_ENABLE();
  __HAL_RCC_GPIOA_CLK_ENABLE();
  __HAL_RCC_GPIOB_CLK_ENABLE();
  __HAL_RCC_GPIOG_CLK_ENABLE();
  __HAL_RCC_GPIOD_CLK_ENABLE();

  /*Configure GPIO pin Output Level */
  HAL_GPIO_WritePin(RADIO_RESET_GPIO_Port, RADIO_RESET_Pin, GPIO_PIN_RESET);

  /*Configure GPIO pin Output Level */
  HAL_GPIO_WritePin(SPI2_CS_RADIO_GPIO_Port, SPI2_CS_RADIO_Pin, GPIO_PIN_SET);

  /*Configure GPIO pin Output Level */
  HAL_GPIO_WritePin(GPIOF, TEST_PIN0_Pin|TEST_PIN1_Pin|TEST_PIN2_Pin|TEST_PIN3_Pin, GPIO_PIN_SET);

  /*Configure GPIO pin Output Level */
  HAL_GPIO_WritePin(ACCEL1_CS_GPIO_Port, ACCEL1_CS_Pin, GPIO_PIN_SET);

  /*Configure GPIO pin Output Level */
  HAL_GPIO_WritePin(ACCEL2_CS_GPIO_Port, ACCEL2_CS_Pin, GPIO_PIN_SET);

  /*Configure GPIO pin Output Level */
  HAL_GPIO_WritePin(BAROMETER_CS_GPIO_Port, BAROMETER_CS_Pin, GPIO_PIN_SET);

  /*Configure GPIO pin Output Level */
  HAL_GPIO_WritePin(LED1_MCU_GPIO_Port, LED1_MCU_Pin, GPIO_PIN_RESET);

  /*Configure GPIO pin Output Level */
  HAL_GPIO_WritePin(GPIOD, LED2_MCU_Pin|GPS_RESET_Pin, GPIO_PIN_RESET);

  /*Configure GPIO pin Output Level */
  HAL_GPIO_WritePin(GPIOA, DEPLOY_SWITCH_2_Pin|DEPLOY_SWITCH_1_Pin, GPIO_PIN_RESET);

  /*Configure GPIO pin : RADIO_RESET_Pin */
  GPIO_InitStruct.Pin = RADIO_RESET_Pin;
  GPIO_InitStruct.Mode = GPIO_MODE_OUTPUT_PP;
  GPIO_InitStruct.Pull = GPIO_NOPULL;
  GPIO_InitStruct.Speed = GPIO_SPEED_FREQ_LOW;
  HAL_GPIO_Init(RADIO_RESET_GPIO_Port, &GPIO_InitStruct);

  /*Configure GPIO pin : SPI2_CS_RADIO_Pin */
  GPIO_InitStruct.Pin = SPI2_CS_RADIO_Pin;
  GPIO_InitStruct.Mode = GPIO_MODE_OUTPUT_PP;
  GPIO_InitStruct.Pull = GPIO_PULLUP;
  GPIO_InitStruct.Speed = GPIO_SPEED_FREQ_LOW;
  HAL_GPIO_Init(SPI2_CS_RADIO_GPIO_Port, &GPIO_InitStruct);

  /*Configure GPIO pin : RADIO_INT2_Pin */
  GPIO_InitStruct.Pin = RADIO_INT2_Pin;
  GPIO_InitStruct.Mode = GPIO_MODE_INPUT;
  GPIO_InitStruct.Pull = GPIO_NOPULL;
  HAL_GPIO_Init(RADIO_INT2_GPIO_Port, &GPIO_InitStruct);

  /*Configure GPIO pin : RADIO_INT1_Pin */
  GPIO_InitStruct.Pin = RADIO_INT1_Pin;
  GPIO_InitStruct.Mode = GPIO_MODE_IT_RISING;
  GPIO_InitStruct.Pull = GPIO_PULLDOWN;
  HAL_GPIO_Init(RADIO_INT1_GPIO_Port, &GPIO_InitStruct);

  /*Configure GPIO pins : TEST_PIN0_Pin TEST_PIN1_Pin TEST_PIN2_Pin TEST_PIN3_Pin */
  GPIO_InitStruct.Pin = TEST_PIN0_Pin|TEST_PIN1_Pin|TEST_PIN2_Pin|TEST_PIN3_Pin;
  GPIO_InitStruct.Mode = GPIO_MODE_OUTPUT_PP;
  GPIO_InitStruct.Pull = GPIO_NOPULL;
  GPIO_InitStruct.Speed = GPIO_SPEED_FREQ_VERY_HIGH;
  HAL_GPIO_Init(GPIOF, &GPIO_InitStruct);

  /*Configure GPIO pin : ACCEL1_CS_Pin */
  GPIO_InitStruct.Pin = ACCEL1_CS_Pin;
  GPIO_InitStruct.Mode = GPIO_MODE_OUTPUT_PP;
  GPIO_InitStruct.Pull = GPIO_PULLUP;
  GPIO_InitStruct.Speed = GPIO_SPEED_FREQ_LOW;
  HAL_GPIO_Init(ACCEL1_CS_GPIO_Port, &GPIO_InitStruct);

  /*Configure GPIO pin : ACCEL1_INT1_Pin */
  GPIO_InitStruct.Pin = ACCEL1_INT1_Pin;
  GPIO_InitStruct.Mode = GPIO_MODE_IT_FALLING;
  GPIO_InitStruct.Pull = GPIO_PULLUP;
  HAL_GPIO_Init(ACCEL1_INT1_GPIO_Port, &GPIO_InitStruct);

  /*Configure GPIO pin : ACCEL2_CS_Pin */
  GPIO_InitStruct.Pin = ACCEL2_CS_Pin;
  GPIO_InitStruct.Mode = GPIO_MODE_OUTPUT_PP;
  GPIO_InitStruct.Pull = GPIO_PULLUP;
  GPIO_InitStruct.Speed = GPIO_SPEED_FREQ_LOW;
  HAL_GPIO_Init(ACCEL2_CS_GPIO_Port, &GPIO_InitStruct);

  /*Configure GPIO pins : ACCEL2_INT1_Pin BAROMETER_INT_Pin */
  GPIO_InitStruct.Pin = ACCEL2_INT1_Pin|BAROMETER_INT_Pin;
  GPIO_InitStruct.Mode = GPIO_MODE_IT_FALLING;
  GPIO_InitStruct.Pull = GPIO_PULLUP;
  HAL_GPIO_Init(GPIOB, &GPIO_InitStruct);

  /*Configure GPIO pin : ACCEL1_INT2_Pin */
  GPIO_InitStruct.Pin = ACCEL1_INT2_Pin;
  GPIO_InitStruct.Mode = GPIO_MODE_IT_FALLING;
  GPIO_InitStruct.Pull = GPIO_PULLUP;
  HAL_GPIO_Init(ACCEL1_INT2_GPIO_Port, &GPIO_InitStruct);

  /*Configure GPIO pin : BAROMETER_CS_Pin */
  GPIO_InitStruct.Pin = BAROMETER_CS_Pin;
  GPIO_InitStruct.Mode = GPIO_MODE_OUTPUT_PP;
  GPIO_InitStruct.Pull = GPIO_PULLUP;
  GPIO_InitStruct.Speed = GPIO_SPEED_FREQ_LOW;
  HAL_GPIO_Init(BAROMETER_CS_GPIO_Port, &GPIO_InitStruct);

  /*Configure GPIO pin : ACCEL2_INT2_INPUT_Pin */
  GPIO_InitStruct.Pin = ACCEL2_INT2_INPUT_Pin;
  GPIO_InitStruct.Mode = GPIO_MODE_INPUT;
  GPIO_InitStruct.Pull = GPIO_PULLUP;
  HAL_GPIO_Init(ACCEL2_INT2_INPUT_GPIO_Port, &GPIO_InitStruct);

  /*Configure GPIO pin : DIP_SW_Pin */
  GPIO_InitStruct.Pin = DIP_SW_Pin;
  GPIO_InitStruct.Mode = GPIO_MODE_INPUT;
  GPIO_InitStruct.Pull = GPIO_NOPULL;
  HAL_GPIO_Init(DIP_SW_GPIO_Port, &GPIO_InitStruct);

  /*Configure GPIO pin : LED1_MCU_Pin */
  GPIO_InitStruct.Pin = LED1_MCU_Pin;
  GPIO_InitStruct.Mode = GPIO_MODE_OUTPUT_PP;
  GPIO_InitStruct.Pull = GPIO_NOPULL;
  GPIO_InitStruct.Speed = GPIO_SPEED_FREQ_LOW;
  HAL_GPIO_Init(LED1_MCU_GPIO_Port, &GPIO_InitStruct);

  /*Configure GPIO pins : LED2_MCU_Pin GPS_RESET_Pin */
  GPIO_InitStruct.Pin = LED2_MCU_Pin|GPS_RESET_Pin;
  GPIO_InitStruct.Mode = GPIO_MODE_OUTPUT_PP;
  GPIO_InitStruct.Pull = GPIO_NOPULL;
  GPIO_InitStruct.Speed = GPIO_SPEED_FREQ_LOW;
  HAL_GPIO_Init(GPIOD, &GPIO_InitStruct);

  /*Configure GPIO pin : GPS_INT_Pin */
  GPIO_InitStruct.Pin = GPS_INT_Pin;
  GPIO_InitStruct.Mode = GPIO_MODE_IT_FALLING;
  GPIO_InitStruct.Pull = GPIO_PULLUP;
  HAL_GPIO_Init(GPS_INT_GPIO_Port, &GPIO_InitStruct);

  /*Configure GPIO pin : GPS_PPS_INT_Pin */
  GPIO_InitStruct.Pin = GPS_PPS_INT_Pin;
  GPIO_InitStruct.Mode = GPIO_MODE_INPUT;
  GPIO_InitStruct.Pull = GPIO_PULLUP;
  HAL_GPIO_Init(GPS_PPS_INT_GPIO_Port, &GPIO_InitStruct);

  /*Configure GPIO pins : DEPLOY_SWITCH_2_Pin DEPLOY_SWITCH_1_Pin */
  GPIO_InitStruct.Pin = DEPLOY_SWITCH_2_Pin|DEPLOY_SWITCH_1_Pin;
  GPIO_InitStruct.Mode = GPIO_MODE_OUTPUT_PP;
  GPIO_InitStruct.Pull = GPIO_NOPULL;
  GPIO_InitStruct.Speed = GPIO_SPEED_FREQ_LOW;
  HAL_GPIO_Init(GPIOA, &GPIO_InitStruct);

  /* EXTI interrupt init*/
  HAL_NVIC_SetPriority(EXTI0_IRQn, 5, 0);
  HAL_NVIC_EnableIRQ(EXTI0_IRQn);

  HAL_NVIC_SetPriority(EXTI2_IRQn, 5, 0);
  HAL_NVIC_EnableIRQ(EXTI2_IRQn);

  HAL_NVIC_SetPriority(EXTI4_IRQn, 5, 0);
  HAL_NVIC_EnableIRQ(EXTI4_IRQn);

  HAL_NVIC_SetPriority(EXTI15_10_IRQn, 5, 0);
  HAL_NVIC_EnableIRQ(EXTI15_10_IRQn);

}

void DefaultTask(void *argument)
{
  /* init code for USB_DEVICE */
  MX_USB_DEVICE_Init();
  /* USER CODE BEGIN 5 */
  StartDefaultTask();
  /* USER CODE END 5 */
}

void DataCollectionTask(void *argument)
{
  /* USER CODE BEGIN DataCollectionTask */
  /* Infinite loop */
  StartDataCollectionTask();
  /* USER CODE END DataCollectionTask */
}

void RadioCommsTask(void *argument)
{
  /* USER CODE BEGIN RadioCommsTask */
  /* Infinite loop */
  StartRadioCommsTask();
  /* USER CODE END RadioCommsTask */
}

void DataWriterStart(void *argument)
{
  /* USER CODE BEGIN DataWriterStart */
  /* Infinite loop */
  StartDataWriterTask();
  /* USER CODE END DataWriterStart */
}

void RocketAppTask(void *argument)
{
  /* USER CODE BEGIN RocketAppTask */
  StartRocketAppTask();
  /* USER CODE END RocketAppTask */
}

void HAL_TIM_PeriodElapsedCallback(TIM_HandleTypeDef *htim)
{
  if (htim->Instance == TIM1) {
    HAL_IncTick();
  }
  /* USER CODE BEGIN Callback 1 */
  if (htim->Instance == TIM14)
  {
    ToggleLedOne();
  }
  /* USER CODE END Callback 1 */
}

void Error_Handler(void)
{
  __disable_irq();
  while (1)
  {
  }
}

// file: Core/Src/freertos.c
/* USER CODE BEGIN Header */
/**
 ******************************************************************************
 * File Name          : freertos.c
 * Description        : Code for freertos applications
 ******************************************************************************
 * @attention
 *
 * Copyright (c) 2022 STMicroelectronics.
 * All rights reserved.
 *
 * This software is licensed under terms that can be found in the LICENSE file
 * in the root directory of this software component.
 * If no LICENSE file comes with this software, it is provided AS-IS.
 *
 ******************************************************************************
 */
/* USER CODE END Header */

#include "FreeRTOS.h"
#include "task.h"
#include "main.h"

/* USER CODE BEGIN Includes */
#include "stm32f4xx_hal_tim.h"
extern TIM_HandleTypeDef htim13;
/* USER CODE END Includes */

/* Hook prototypes */
void configureTimerForRunTimeStats(void);
unsigned long getRunTimeCounterValue(void);
void vApplicationStackOverflowHook(TaskHandle_t xTask, signed char *pcTaskName);
void vApplicationMallocFailedHook(void);

/* USER CODE BEGIN 1 */
/* Functions needed when configGENERATE_RUN_TIME_STATS is on */
__weak void configureTimerForRunTimeStats(void)
{
  htim13.Instance->CNT = 0;
  HAL_TIM_Base_Start(&htim13);
}

__weak unsigned long getRunTimeCounterValue(void)
{
  htim13.Instance->CNT;
  return htim13.Instance->CNT;
}
/* USER CODE END 1 */

/* USER CODE BEGIN 4 */
void vApplicationStackOverflowHook(TaskHandle_t xTask, signed char* pcTaskName)
{
  /* Run time stack overflow checking is performed if
   configCHECK_FOR_STACK_OVERFLOW is defined to 1 or 2. This hook function is
   called if a stack overflow is detected. */
}
/* USER CODE END 4 */

/* USER CODE BEGIN 5 */
void vApplicationMallocFailedHook(void)
{
  /* vApplicationMallocFailedHook() will only be called if
   configUSE_MALLOC_FAILED_HOOK is set to 1 in FreeRTOSConfig.h. It is a hook
   function that will get called if a call to pvPortMalloc() fails.
   pvPortMalloc() is called internally by the kernel whenever a task, queue,
   timer or semaphore is created. It is also called by various parts of the
   demo application. If heap_1.c or heap_2.c are used, then the size of the
   heap available to pvPortMalloc() is defined by configTOTAL_HEAP_SIZE in
   FreeRTOSConfig.h, and the xPortGetFreeHeapSize() API function can be used
   to query the size of free heap space that remains (although it does not
   provide information on how the remaining heap might be fragmented). */
}
/* USER CODE END 5 */
